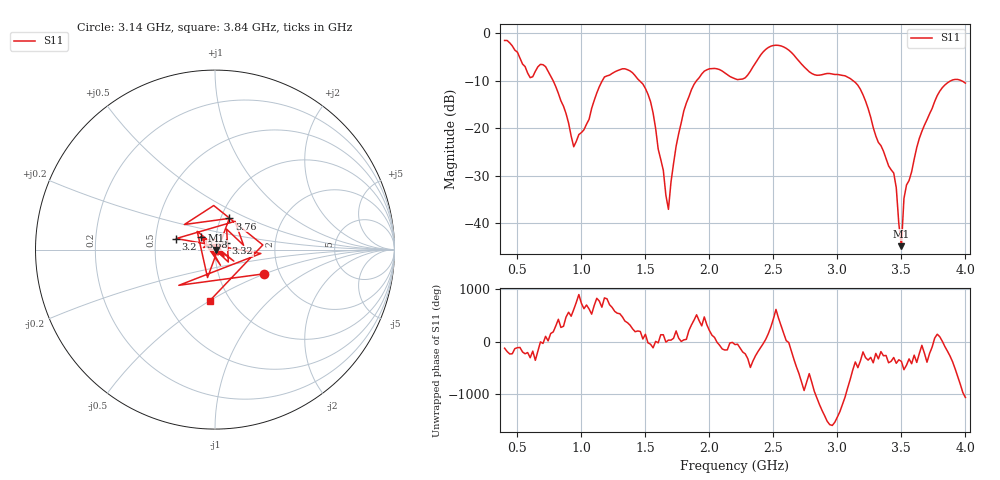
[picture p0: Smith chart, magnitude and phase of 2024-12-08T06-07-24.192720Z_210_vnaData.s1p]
!Created with skrf (http://scikit-rf.org).
# Hz S RI R 50.0
!freq ReS11 ImS11
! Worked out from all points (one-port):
!   181 points, 400 MHz to 4 GHz, reference 50 ohm
!   lowest |S11| = -44.9 dB at 3.5 GHz (marker M1), VSWR 1.01, Z = 50.6 - j0.158 ohm
!   |S11| at or under -10 dB: 779.5 MHz to 1.163 GHz (383.7 MHz wide, 39.5 % of centre); 1.454 GHz to 1.899 GHz (444.8 MHz wide, 26.5 % of centre); 3.123 GHz to 3.887 GHz (763.9 MHz wide, 21.8 % of centre) (the widest 3 of 4)
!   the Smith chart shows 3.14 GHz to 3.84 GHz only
!   S11 on the Smith chart (normalised r, x): 3.14 GHz: 1.66, -0.49; 3.2 GHz: 0.64, +0.08; 3.32 GHz: 1.13, +0.08; 3.68 GHz: 0.84, +0.12; 3.76 GHz: 1.10, +0.40; 3.84 GHz: 0.81, -0.50
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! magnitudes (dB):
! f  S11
! 400 MHz  -1.5
! 600 MHz  -9.4
! 720 MHz  -7.0
! 860 MHz  -15.4
! 940 MHz  -23.9
! 1.18 GHz  -9.2
! 1.3 GHz  -7.7
! 1.54 GHz  -14.4
! 1.68 GHz  -37.1
! 1.76 GHz  -21.1
! 1.86 GHz  -11.9
! 1.96 GHz  -8.0
! 2.2 GHz  -9.6
! 2.48 GHz  -2.7
! 2.66 GHz  -4.6
! 2.82 GHz  -8.7
! 3.1 GHz  -9.5
! 3.14 GHz  -10.4
! 3.2 GHz  -13.0
! 3.32 GHz  -23.0
! 3.44 GHz  -29.4
! 3.5 GHz  -44.9
! 3.52 GHz  -34.8
! 3.56 GHz  -31.0
! 3.68 GHz  -19.4
! 3.76 GHz  -14.4
! 3.84 GHz  -10.9
! 4 GHz  -10.5
